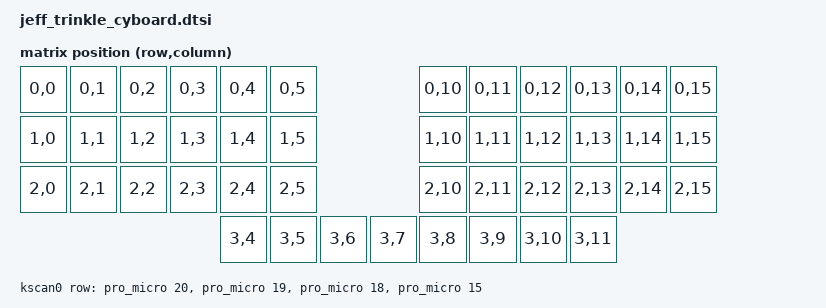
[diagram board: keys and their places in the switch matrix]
/*
 * Copyright (c) 2020 Pete Johanson
 *
 * SPDX-License-Identifier: MIT
 */

#include <dt-bindings/zmk/matrix_transform.h>

/ {
	chosen {
		zmk,kscan = &kscan0;
		zmk,matrix_transform = &default_transform;
	};

	default_transform: keymap_transform_0 {
		compatible = "zmk,matrix-transform";
		columns = <16>;
		rows = <4>;
//r6c1, r6c2, r6c3, r6c4, r6c5, r6c6, r6c8, r6c9, r6c10, r6c11, r6c12, r6c13, r6c14, r6c15, r6c16
//r5c1, r5c2, r5c3, r5c4, r5c5, r5c6, r5c8, r5c10, r5c11, r5c12, r5c13, r5c14, r5c15, r5c16, 
//r4c1, r4c3, r4c4, r4c5, r4c6, r4c7, r4c9, r4c10, r4c11, r4c12, r4c13, r4c14, r4c15, r4c16, 
//r3c1, r3c3, r3c4, r3c5, r3c6, r3c7, r3c9, r3c10, r3c11, r3c12, r3c13, r3c14, r3c15, 
//r2c2, r2c3, r2c4, r2c5, r2c6, r2c7, r2c9, r2c10, r2c11, r2c12, r2c13, r2c14, r2c15, r2c16, 
//r1c1, r1c2, r1c4, r1c6, r1c7, r1c9, r1c10, r1c11, r1c12, r1c14, r1c15, r1c16, 
		map = <
RC(0,0) RC(0,1) RC(0,2) RC(0,3) RC(0,4) RC(0,5)                                   RC(0,10) RC(0,11) RC(0,12) RC(0,13) RC(0,14) RC(0,15)
RC(1,0) RC(1,1) RC(1,2) RC(1,3) RC(1,4) RC(1,5)                                   RC(1,10) RC(1,11) RC(1,12) RC(1,13) RC(1,14) RC(1,15)
RC(2,0) RC(2,1) RC(2,2) RC(2,3) RC(2,4) RC(2,5)                                   RC(2,10) RC(2,11) RC(2,12) RC(2,13) RC(2,14) RC(2,15)
                                RC(3,4) RC(3,5) RC(3,6) RC(3,7)   RC(3,8) RC(3,9) RC(3,10) RC(3,11)
		>;
	};

	kscan0: kscan {
		compatible = "zmk,kscan-gpio-matrix";
		label = "KSCAN";

		diode-direction = "row2col";
		row-gpios
			= <&pro_micro 20 GPIO_ACTIVE_HIGH>
			, <&pro_micro 19 GPIO_ACTIVE_HIGH>
			, <&pro_micro 18 GPIO_ACTIVE_HIGH>
			, <&pro_micro 15 GPIO_ACTIVE_HIGH>
			;
		
	};

	// TODO: per-key RGB node(s)?
};
